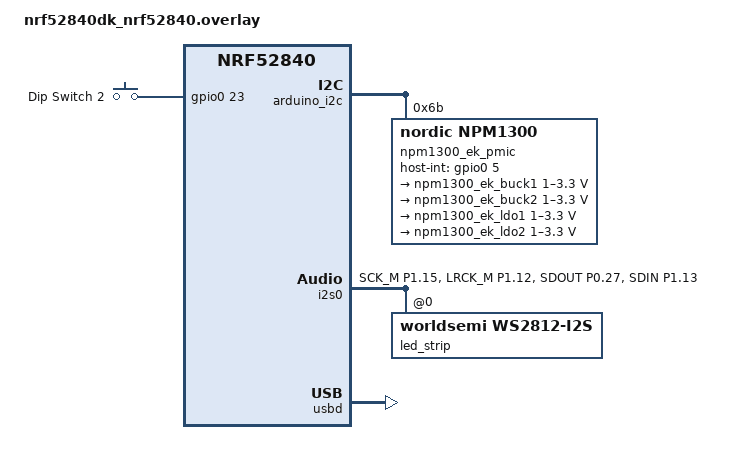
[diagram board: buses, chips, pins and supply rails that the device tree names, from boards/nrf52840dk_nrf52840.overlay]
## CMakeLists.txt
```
#
# Copyright (c) 2025 Joonho Jang
# Copyright (c) 2023 Nordic Semiconductor ASA
#
# SPDX-License-Identifier: LicenseRef-Nordic-5-Clause
#

cmake_minimum_required(VERSION 3.20.0)
find_package(Zephyr REQUIRED HINTS $ENV{ZEPHYR_BASE})

project(leopold_fc750r)

target_include_directories(app PRIVATE include)
target_sources(app PRIVATE src/main.c)
target_sources(app PRIVATE src/fuel_gauge.c)

target_sources(app PRIVATE ${app_sources})
include(${ZEPHYR_BASE}/samples/subsys/usb/common/common.cmake)
FILE(GLOB app_sources ${ZEPHYR_BASE}/samples/subsys/usb/hid-keyboard/src/*.c)
FILE(GLOB app_sources src/*.c)
```

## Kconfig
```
#
# Copyright (c) 2023, 2019 Nordic Semiconductor ASA
#
# SPDX-License-Identifier: Apache-2.0
#

########################################################################
##                               RGB LEDS                             ##
########################################################################

menu "WS2812 Sample Configuration"

config SAMPLE_LED_UPDATE_DELAY
	int "Delay between LED updates in ms"
	default 50
	help
	  Delay between LED updates in ms.

endmenu

########################################################################
##                             USB SETTINGS                           ##
########################################################################

# Source common USB sample options used to initialize new experimental USB
# device stack. The scope of these options is limited to USB samples in project
# tree, you cannot use them in your own application.
source "samples/subsys/usb/common/Kconfig.sample_usbd"

source "Kconfig.zephyr"
```

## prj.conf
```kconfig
#
# Copyright (c) 2025 Joonho Jang
# Copyright (c) 2023, 2019, 2018 Nordic Semiconductor ASA
#
# SPDX-License-Identifier: LicenseRef-Nordic-5-Clause
#

########################################################################
##                           TERMINAL OUTPUT                          ##
########################################################################

CONFIG_LOG=y
CONFIG_LOG_BLOCK_IN_THREAD=y
CONFIG_LOG_CMDS=y

# Uncomment for RTT logging over UART
CONFIG_USE_SEGGER_RTT=y
CONFIG_LOG_BACKEND_RTT=y
CONFIG_RTT_CONSOLE=y
CONFIG_LOG_BACKEND_UART=n
CONFIG_UART_CONSOLE=n

# For the Nordic Semiconductor ASCII art to print properly 
CONFIG_SEGGER_RTT_BUFFER_SIZE_UP=4096

########################################################################
##                           POWER MANAGEMENT                         ##
########################################################################

CONFIG_SHELL=y
CONFIG_LED=y
CONFIG_REGULATOR=y
CONFIG_SENSOR=y
CONFIG_I2C_SHELL=y

CONFIG_NRF_FUEL_GAUGE=y
CONFIG_NRF_FUEL_GAUGE_VARIANT_SECONDARY_CELL=y
CONFIG_REQUIRES_FLOAT_PRINTF=y
CONFIG_FPU=y

########################################################################
##                      KEYBOARD MATRIX SCANNING                      ##
########################################################################

CONFIG_INPUT=y 
CONFIG_GPIO=y

# DEBUGGING TOOL: `kbd_matrix_state_dump` shell command 
# CONFIG_SHELL=y
# CONFIG_INPUT_SHELL=y
# CONFIG_INPUT_SHELL_KBD_MATRIX_STATE=y

########################################################################
##                              BLE SETTING                           ##
########################################################################

# BLE Fundamentals 
CONFIG_BT=y
CONFIG_BT_PERIPHERAL=y
CONFIG_BT_MAX_CONN=1
CONFIG_BT_MAX_PAIRED=3
CONFIG_BT_SMP=y
CONFIG_BT_PRIVACY=y
CONFIG_BT_FILTER_ACCEPT_LIST=y

# 4 Unique Peripheral Identities (However the Identity[0] is always const)
CONFIG_BT_ID_MAX=4

CONFIG_BT_ATT_TX_COUNT=5
CONFIG_BT_GATT_UUID16_POOL_SIZE=40  
CONFIG_BT_GATT_CHRC_POOL_SIZE=20  

# GAP Identity 
CONFIG_BT_DEVICE_NAME="FC750R"
CONFIG_BT_DEVICE_APPEARANCE=961 
CONFIG_BT_DIS=y 
CONFIG_BT_DIS_MANUF_NAME=y 
CONFIG_BT_DIS_MANUF_NAME_STR="Leopold" 

# HID and Battery Service 
CONFIG_BT_HIDS=y 
CONFIG_BT_HIDS_MAX_CLIENT_COUNT=1
CONFIG_BT_HIDS_DEFAULT_PERM_RW_ENCRYPT=y
CONFIG_BT_BAS=y 
CONFIG_BT_BAS_BLS=y
CONFIG_BT_CONN_CTX=y 

# Stack 
CONFIG_MAIN_STACK_SIZE=2048
CONFIG_SYSTEM_WORKQUEUE_STACK_SIZE=2048
CONFIG_INPUT_KBD_MATRIX_THREAD_STACK_SIZE=2048

# Storage 
CONFIG_SETTINGS=y
CONFIG_BT_SETTINGS=y
CONFIG_FLASH=y
CONFIG_FLASH_PAGE_LAYOUT=y
CONFIG_FLASH_MAP=y
CONFIG_ZMS=y

########################################################################
##                             USB SETTINGS                           ##
########################################################################

CONFIG_USB_DEVICE_STACK_NEXT=y
CONFIG_USBD_HID_SUPPORT=y

CONFIG_USBD_LOG_LEVEL_WRN=y
CONFIG_USBD_HID_LOG_LEVEL_WRN=y
CONFIG_UDC_DRIVER_LOG_LEVEL_WRN=y
CONFIG_LOG_BUFFER_SIZE=8192

CONFIG_INPUT_MODE_SYNCHRONOUS=y

CONFIG_SAMPLE_USBD_MANUFACTURER="Leopold"
CONFIG_SAMPLE_USBD_PRODUCT="FC750R (Wired)"
CONFIG_SAMPLE_USBD_REMOTE_WAKEUP=y

########################################################################
##                               RGB LEDS                             ##
########################################################################

CONFIG_LED_STRIP=y
CONFIG_LED_STRIP_LOG_LEVEL_DBG=y
```

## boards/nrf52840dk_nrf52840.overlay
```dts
/**
 * Copyright (c) 2025 Joonho Jang
 * Copyright (c) 2023 Nordic Semiconductor ASA
 *
 * SPDX-License-Identifier: Apache-2.0
 */

#include <dt-bindings/regulator/npm1300.h>
#include <zephyr/dt-bindings/input/input-event-codes.h>
#include <zephyr/dt-bindings/input/keymap.h>

#include <zephyr/dt-bindings/led/led.h>

&i2c0_default {
    group1 {
        bias-pull-up;
        psels = <NRF_PSEL(TWIM_SDA, 0, 4)>, <NRF_PSEL(TWIM_SCL, 0, 26)>;
    };
};

&arduino_i2c {
    npm1300_ek_pmic: pmic@6b {
        compatible = "nordic,npm1300";
        reg = <0x6b>;

        // ship-to-active-time = <96>;
        // long-press-reset = "one_button";

        npm1300_ek_gpio: gpio-controller {
            compatible = "nordic,npm1300-gpio";
            gpio-controller;
            #gpio-cells = <2>;
            ngpios = <5>;

        };

        npm1300_ek_regulators: regulators {
            compatible = "nordic,npm1300-regulator";

            npm1300_ek_buck1: BUCK1 {
                regulator-min-microvolt = <1000000>;
                regulator-max-microvolt = <3300000>;
                regulator-init-microvolt = <1800000>;
                retention-microvolt = <1500000>;

                retention-gpios = <&npm1300_ek_gpio 0 GPIO_ACTIVE_LOW>;
            };

            npm1300_ek_buck2: BUCK2 {
                regulator-min-microvolt = <1000000>;
                regulator-max-microvolt = <3300000>;
                regulator-init-microvolt = <1800000>;
                retention-microvolt = <1500000>;

            };

            npm1300_ek_ldo1: LDO1 {
                regulator-min-microvolt = <1000000>;
                regulator-max-microvolt = <3300000>;

                regulator-initial-mode = <NPM1300_LDSW_MODE_LDSW>;

            };

            npm1300_ek_ldo2: LDO2 {
                regulator-min-microvolt = <1000000>;
                regulator-max-microvolt = <3300000>;

                regulator-initial-mode = <NPM1300_LDSW_MODE_LDSW>;

            };
        };


        npm1300_ek_charger: charger {
            compatible = "nordic,npm1300-charger";
            term-microvolt = <4200000>;
            term-warm-microvolt = <3600000>;
            // term-current-percent = <10>;
            current-microamp = <800000>;
            // trickle-microvolt = <2500000>;
            dischg-limit-microamp = <1000000>;
            vbus-limit-microamp = <500000>;
            thermistor-ohms = <10000>;
            thermistor-beta = <3380>;
            // disable-recharge;
            charging-enable;

        };

        npm1300_ek_leds: leds {
            compatible = "nordic,npm1300-led";
            nordic,led0-mode = "error";
            nordic,led1-mode = "charging";
            nordic,led2-mode = "host";

        };
    };
};

&npm1300_ek_pmic {
    host-int-gpios = <&gpio0 5 0>;
    pmic-int-pin = <1>;

};

/{
    kbd {
        kbd-matrix {
            compatible = "gpio-kbd-matrix";

            row-gpios = <&gpio1 4 (GPIO_PULL_DOWN | GPIO_ACTIVE_HIGH)>,
                        <&gpio1 5 (GPIO_PULL_DOWN | GPIO_ACTIVE_HIGH)>,
                        <&gpio1 2 (GPIO_PULL_DOWN | GPIO_ACTIVE_HIGH)>,
                        <&gpio0 7 (GPIO_PULL_DOWN | GPIO_ACTIVE_HIGH)>,
                        <&gpio0 2 (GPIO_PULL_DOWN | GPIO_ACTIVE_HIGH)>,
                        <&gpio1 14 (GPIO_PULL_DOWN | GPIO_ACTIVE_HIGH)>;

            col-gpios = <&gpio0 3 GPIO_ACTIVE_HIGH>,
                        <&gpio0 29 GPIO_ACTIVE_HIGH>,
                        <&gpio0 28 GPIO_ACTIVE_HIGH>,
                        <&gpio0 31 GPIO_ACTIVE_HIGH>,
                        <&gpio0 30 GPIO_ACTIVE_HIGH>,
                        <&gpio1 8 GPIO_ACTIVE_HIGH>,
                        <&gpio0 11 GPIO_ACTIVE_HIGH>,
                        <&gpio0 6 GPIO_ACTIVE_HIGH>,
                        <&gpio0 8 GPIO_ACTIVE_HIGH>,
                        <&gpio1 9 GPIO_ACTIVE_HIGH>,
                        <&gpio0 12 GPIO_ACTIVE_HIGH>,
                        <&gpio0 14 GPIO_ACTIVE_HIGH>,
                        <&gpio0 16 GPIO_ACTIVE_HIGH>,
                        <&gpio0 13 GPIO_ACTIVE_HIGH>,
                        <&gpio0 15 GPIO_ACTIVE_HIGH>,
                        <&gpio1 3 GPIO_ACTIVE_HIGH>,
                        <&gpio1 7 GPIO_ACTIVE_HIGH>,
                        <&gpio1 6 GPIO_ACTIVE_HIGH>;

            keymap {
                compatible = "input-keymap";
                // MATRIX_KEY(row, col, INPUT_KEY)
                keymap = <

                MATRIX_KEY(0, 0, INPUT_KEY_ESC)
                MATRIX_KEY(0, 2, INPUT_KEY_F1)
                MATRIX_KEY(0, 3, INPUT_KEY_F2)
                MATRIX_KEY(0, 4, INPUT_KEY_F3)
                MATRIX_KEY(0, 5, INPUT_KEY_F4)
                MATRIX_KEY(0, 7, INPUT_KEY_F5)
                MATRIX_KEY(0, 8, INPUT_KEY_F6)
                MATRIX_KEY(0, 9, INPUT_KEY_F7)
                MATRIX_KEY(0, 10, INPUT_KEY_F8)
                MATRIX_KEY(0, 11, INPUT_KEY_F9)
                MATRIX_KEY(0, 12, INPUT_KEY_F10)
                MATRIX_KEY(0, 13, INPUT_KEY_F11)
                MATRIX_KEY(0, 14, INPUT_KEY_F12)
                MATRIX_KEY(0, 15, INPUT_KEY_PRINT)
                MATRIX_KEY(0, 16, INPUT_KEY_SCROLLLOCK)
                MATRIX_KEY(0, 17, INPUT_KEY_PAUSE)

                MATRIX_KEY(1, 0, INPUT_KEY_GRAVE)
                MATRIX_KEY(1, 1, INPUT_KEY_1)
                MATRIX_KEY(1, 2, INPUT_KEY_2)
                MATRIX_KEY(1, 3, INPUT_KEY_3)
                MATRIX_KEY(1, 4, INPUT_KEY_4)
                MATRIX_KEY(1, 5, INPUT_KEY_5)
                MATRIX_KEY(1, 6, INPUT_KEY_6)
                MATRIX_KEY(1, 7, INPUT_KEY_7)
                MATRIX_KEY(1, 8, INPUT_KEY_8)
                MATRIX_KEY(1, 9, INPUT_KEY_9)
                MATRIX_KEY(1, 10, INPUT_KEY_0)
                MATRIX_KEY(1, 11, INPUT_KEY_MINUS)
                MATRIX_KEY(1, 12, INPUT_KEY_EQUAL)
                MATRIX_KEY(1, 13, INPUT_KEY_BACKSPACE)
                MATRIX_KEY(1, 15, INPUT_KEY_INSERT)
                MATRIX_KEY(1, 16, INPUT_KEY_HOME)
                MATRIX_KEY(1, 17, INPUT_KEY_PAGEUP)

                MATRIX_KEY(2, 0, INPUT_KEY_TAB)
                MATRIX_KEY(2, 1, INPUT_KEY_Q)
                MATRIX_KEY(2, 2, INPUT_KEY_W)
                MATRIX_KEY(2, 3, INPUT_KEY_E)
                MATRIX_KEY(2, 4, INPUT_KEY_R)
                MATRIX_KEY(2, 5, INPUT_KEY_T)
                MATRIX_KEY(2, 6, INPUT_KEY_Y)
                MATRIX_KEY(2, 7, INPUT_KEY_U)
                MATRIX_KEY(2, 8, INPUT_KEY_I)
                MATRIX_KEY(2, 9, INPUT_KEY_O)
                MATRIX_KEY(2, 10, INPUT_KEY_P)
                MATRIX_KEY(2, 11, INPUT_KEY_LEFTBRACE)
                MATRIX_KEY(2, 12, INPUT_KEY_RIGHTBRACE)
                MATRIX_KEY(2, 13, INPUT_KEY_BACKSLASH)
                MATRIX_KEY(2, 15, INPUT_KEY_DELETE)
                MATRIX_KEY(2, 16, INPUT_KEY_END)
                MATRIX_KEY(2, 17, INPUT_KEY_PAGEDOWN)

                MATRIX_KEY(3, 0, INPUT_KEY_CAPSLOCK)
                MATRIX_KEY(3, 1, INPUT_KEY_A)
                MATRIX_KEY(3, 2, INPUT_KEY_S)
                MATRIX_KEY(3, 3, INPUT_KEY_D)
                MATRIX_KEY(3, 4, INPUT_KEY_F)
                MATRIX_KEY(3, 5, INPUT_KEY_G)
                MATRIX_KEY(3, 6, INPUT_KEY_H)
                MATRIX_KEY(3, 7, INPUT_KEY_J)
                MATRIX_KEY(3, 8, INPUT_KEY_K)
                MATRIX_KEY(3, 9, INPUT_KEY_L)
                MATRIX_KEY(3, 10, INPUT_KEY_SEMICOLON)
                MATRIX_KEY(3, 11, INPUT_KEY_APOSTROPHE)
                MATRIX_KEY(3, 13, INPUT_KEY_ENTER)

                MATRIX_KEY(4, 0, INPUT_KEY_LEFTSHIFT)
                MATRIX_KEY(4, 1, INPUT_KEY_Z)
                MATRIX_KEY(4, 2, INPUT_KEY_X)
                MATRIX_KEY(4, 3, INPUT_KEY_C)
                MATRIX_KEY(4, 4, INPUT_KEY_V)
                MATRIX_KEY(4, 5, INPUT_KEY_B)
                MATRIX_KEY(4, 6, INPUT_KEY_N)
                MATRIX_KEY(4, 7, INPUT_KEY_M)
                MATRIX_KEY(4, 8, INPUT_KEY_COMMA)
                MATRIX_KEY(4, 9, INPUT_KEY_DOT)
                MATRIX_KEY(4, 10, INPUT_KEY_SLASH)
                MATRIX_KEY(4, 13, INPUT_KEY_RIGHTSHIFT)
                MATRIX_KEY(4, 16, INPUT_KEY_UP)

                MATRIX_KEY(5, 0, INPUT_KEY_LEFTCTRL)
                MATRIX_KEY(5, 1, INPUT_KEY_LEFTMETA)
                MATRIX_KEY(5, 2, INPUT_KEY_LEFTALT)
                MATRIX_KEY(5, 3, INPUT_KEY_SPACE)
                MATRIX_KEY(5, 8, INPUT_KEY_RIGHTALT)
                MATRIX_KEY(5, 9, INPUT_BTN_0)
                MATRIX_KEY(5, 10, INPUT_KEY_MENU)
                MATRIX_KEY(5, 13, INPUT_KEY_RIGHTCTRL)
                MATRIX_KEY(5, 15, INPUT_KEY_LEFT)
                MATRIX_KEY(5, 16, INPUT_KEY_DOWN)
                MATRIX_KEY(5, 17, INPUT_KEY_RIGHT)
                >;

                row-size = <6>;
                col-size = <18>;
            };

            col-drive-inactive;
            settle-time-us = <0>;
            no-ghostkey-check;

        };
    };

    // Delete from DeviceTree Extension Alias Folder
    aliases {
        /delete-property/ led0;
        /delete-property/ led1;
        /delete-property/ led2;
        /delete-property/ led3;

        /delete-property/ sw0;
        /delete-property/ sw1;
        /delete-property/ sw2;
        /delete-property/ sw3;

        /delete-property/ bootloader-led0;
        /delete-property/ mcuboot-button0;
        /delete-property/ mcuboot-led0;
        /delete-property/ pwm-led0;
    };
};

/ {
    hid_dev_0: hid_dev_0 {
        compatible = "zephyr,hid-device";
        label = "HID0";
        protocol-code = "keyboard";
        in-report-size = <64>;
        in-polling-period-us = <1000>;
        out-report-size = <64>;
        out-polling-period-us = <16000>;

        // Alternative Options
        // in-report-size = <256>;
        // in-polling-period-us = <1000>;
        // out-report-size = <128>;
        // out-polling-period-us = <16000>;
    };
};

/ {
    dip_sw {
        compatible = "gpio-keys"; // Placeholder for my own dts/bindings/dip-sw
        dipsw2: dipsw_2 {
            gpios = <&gpio0 23 (GPIO_PULL_DOWN | GPIO_ACTIVE_HIGH)>;
            label = "Dip Switch 2";
            zephyr,code = <INPUT_BTN_2>;
        };
        // Disabling DIP SW3 and DIP SW4
        // dipsw3: dipsw_3 {
            //     gpios = <&gpio0 21 (GPIO_PULL_DOWN | GPIO_ACTIVE_HIGH)>;
            //     label = "Dip Switch 3";
            //     zephyr,code = <INPUT_BTN_3>;
        // };
        // dipsw4: dipsw_4 {
            //     gpios = <&gpio0 19 (GPIO_PULL_DOWN | GPIO_ACTIVE_HIGH)>;
            //     label = "Dip Switch 4";
            //     zephyr,code = <INPUT_BTN_4>;
        // };
    };
};

&pinctrl {
    i2s0_default_alt: i2s0_default_alt {
        group1 {
            psels = <NRF_PSEL(I2S_SCK_M, 1, 15)>,
                    <NRF_PSEL(I2S_LRCK_M, 1, 12)>,
                    <NRF_PSEL(I2S_SDOUT, 0, 27)>,
                    <NRF_PSEL(I2S_SDIN, 1, 13)>;
        };
    };
};

&i2c0_sleep {
    group1 {
        psels = <NRF_PSEL(TWIM_SDA, 0, 26)>, <NRF_PSEL(TWIM_SCL, 0, 17)>;
    };
};

i2s_led: &i2s0 {
    status = "okay";
    pinctrl-0 = <&i2s0_default_alt>;
    pinctrl-names = "default";

    led_strip: ws2812@0 {
        compatible = "worldsemi,ws2812-i2s";

        reg = <0>;
        chain-length = <87>; /* arbitrary; change at will */
        color-mapping = <LED_COLOR_ID_GREEN
        LED_COLOR_ID_RED
        LED_COLOR_ID_BLUE>;
        // out-active-low;
        reset-delay = <120>;
    };
};

/ {
    aliases {
        led-strip = &led_strip;
    };
};

// Delete from DeviceTree Extension Nodes Folder
/delete-node/ &led0;
/delete-node/ &led1;
/delete-node/ &led2;
/delete-node/ &led3;
/delete-node/ &{/leds/};

/delete-node/ &button0;
/delete-node/ &button1;
/delete-node/ &button2;
/delete-node/ &button3;
/delete-node/ &{/buttons/};

&clock {
    status = "okay";
};

&usbd {
    status = "okay";
};

&spi1 {
    status = "disabled";
};

&qspi {
    status = "disabled";
};

&spi3 {
    status = "disabled";
};

&uart0 {
    status = "disabled";
};

&pwm0 {
    status = "disabled";
};

&arduino_adc {
    io-channel-map = <0 &adc 1>,
                     <1 &adc 2>,
                     <2 &adc 4>,
                     <3 &adc 5>,
                     <4 &adc 6>,
                     <5 &adc 7>;
};
```

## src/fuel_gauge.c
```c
/**
 * Copyright (c) 2023 Nordic Semiconductor ASA
 *
 * SPDX-License-Identifier: LicenseRef-Nordic-5-Clause
 */

#include <nrf_fuel_gauge.h>
#include <stdlib.h>
#include <zephyr/device.h>
#include <zephyr/drivers/sensor.h>
#include <zephyr/drivers/sensor/npm1300_charger.h>
#include <zephyr/kernel.h>
#include <zephyr/sys/printk.h>
#include <zephyr/sys/util.h>

/* nPM1300 CHARGER.BCHGCHARGESTATUS register bitmasks */
#define NPM1300_CHG_STATUS_COMPLETE_MASK BIT(1)
#define NPM1300_CHG_STATUS_TRICKLE_MASK BIT(2)
#define NPM1300_CHG_STATUS_CC_MASK BIT(3)
#define NPM1300_CHG_STATUS_CV_MASK BIT(4)

static int64_t ref_time;

static const struct battery_model battery_model = {
#include "LIP1400_25C.inc"
};

static int read_sensors(const struct device *charger, float *voltage,
                        float *current, float *temp, int32_t *chg_status) {
  struct sensor_value value;
  int ret;

  ret = sensor_sample_fetch(charger);
  if (ret < 0) {
    return ret;
  }

  sensor_channel_get(charger, SENSOR_CHAN_GAUGE_VOLTAGE, &value);
  *voltage = (float)value.val1 + ((float)value.val2 / 1000000);

  sensor_channel_get(charger, SENSOR_CHAN_GAUGE_TEMP, &value);
  *temp = (float)value.val1 + ((float)value.val2 / 1000000);

  sensor_channel_get(charger, SENSOR_CHAN_GAUGE_AVG_CURRENT, &value);
  *current = (float)value.val1 + ((float)value.val2 / 1000000);

  sensor_channel_get(charger, SENSOR_CHAN_NPM1300_CHARGER_STATUS, &value);
  *chg_status = value.val1;

  return 0;
}

static int charge_status_inform(int32_t chg_status) {
  union nrf_fuel_gauge_ext_state_info_data state_info;

  if (chg_status & NPM1300_CHG_STATUS_COMPLETE_MASK) {
    printk("Charge complete\n");
    state_info.charge_state = NRF_FUEL_GAUGE_CHARGE_STATE_COMPLETE;
  } else if (chg_status & NPM1300_CHG_STATUS_TRICKLE_MASK) {
    printk("Trickle charging\n");
    state_info.charge_state = NRF_FUEL_GAUGE_CHARGE_STATE_TRICKLE;
  } else if (chg_status & NPM1300_CHG_STATUS_CC_MASK) {
    printk("Constant current charging\n");
    state_info.charge_state = NRF_FUEL_GAUGE_CHARGE_STATE_CC;
  } else if (chg_status & NPM1300_CHG_STATUS_CV_MASK) {
    printk("Constant voltage charging\n");
    state_info.charge_state = NRF_FUEL_GAUGE_CHARGE_STATE_CV;
  } else {
    printk("Charger idle\n");
    state_info.charge_state = NRF_FUEL_GAUGE_CHARGE_STATE_IDLE;
  }

  return nrf_fuel_gauge_ext_state_update(
      NRF_FUEL_GAUGE_EXT_STATE_INFO_CHARGE_STATE_CHANGE, &state_info);
}

int fuel_gauge_init(const struct device *charger) {
  struct sensor_value value;
  struct nrf_fuel_gauge_init_parameters parameters = {
      .model = &battery_model,
      .opt_params = NULL,
      .state = NULL,
  };
  float max_charge_current;
  float term_charge_current;
  int32_t chg_status;
  int ret;

  printk("nRF Fuel Gauge version: %s\n", nrf_fuel_gauge_version);

  ret = read_sensors(charger, &parameters.v0, &parameters.i0, &parameters.t0,
                     &chg_status);
  if (ret < 0) {
    return ret;
  }

  /* Store charge nominal and termination current, needed for ttf calculation */
  sensor_channel_get(charger, SENSOR_CHAN_GAUGE_DESIRED_CHARGING_CURRENT,
                     &value);
  max_charge_current = (float)value.val1 + ((float)value.val2 / 1000000);
  term_charge_current = max_charge_current / 10.f;

  ret = nrf_fuel_gauge_init(&parameters, NULL);
  if (ret < 0) {
    printk("Error: Could not initialise fuel gauge\n");
    return ret;
  }

  ret = nrf_fuel_gauge_ext_state_update(
      NRF_FUEL_GAUGE_EXT_STATE_INFO_CHARGE_CURRENT_LIMIT,
      &(union nrf_fuel_gauge_ext_state_info_data){.charge_current_limit =
                                                      max_charge_current});
  if (ret < 0) {
    printk("Error: Could not set fuel gauge state\n");
    return ret;
  }

  ret = nrf_fuel_gauge_ext_state_update(
      NRF_FUEL_GAUGE_EXT_STATE_INFO_TERM_CURRENT,
      &(union nrf_fuel_gauge_ext_state_info_data){.charge_term_current =
                                                      term_charge_current});
  if (ret < 0) {
    printk("Error: Could not set fuel gauge state\n");
    return ret;
  }

  ret = charge_status_inform(chg_status);
  if (ret < 0) {
    printk("Error: Could not set fuel gauge state\n");
    return ret;
  }

  ref_time = k_uptime_get();

  return 0;
}

int fuel_gauge_update(const struct device *charger, bool vbus_connected) {
  static int32_t chg_status_prev;

  float voltage;
  float current;
  float temp;
  float soc;
  float tte;
  float ttf;
  float delta;
  int32_t chg_status;
  int ret;

  ret = read_sensors(charger, &voltage, &current, &temp, &chg_status);
  if (ret < 0) {
    printk("Error: Could not read from charger device\n");
    return ret;
  }

  ret = nrf_fuel_gauge_ext_state_update(
      vbus_connected ? NRF_FUEL_GAUGE_EXT_STATE_INFO_VBUS_CONNECTED
                     : NRF_FUEL_GAUGE_EXT_STATE_INFO_VBUS_DISCONNECTED,
      NULL);
  if (ret < 0) {
    printk("Error: Could not inform of state\n");
    return ret;
  }

  if (chg_status != chg_status_prev) {
    chg_status_prev = chg_status;

    ret = charge_status_inform(chg_status);
    if (ret < 0) {
      printk("Error: Could not inform of charge status\n");
      return ret;
    }
  }

  delta = (float)k_uptime_delta(&ref_time) / 1000.f;

  soc = nrf_fuel_gauge_process(voltage, current, temp, delta, NULL);
  tte = nrf_fuel_gauge_tte_get();
  ttf = nrf_fuel_gauge_ttf_get();

  printk("V: %.3f, I: %.3f, T: %.2f, ", (double)voltage, (double)current,
         (double)temp);
  printk("SoC: %.2f, TTE: %.0f, TTF: %.0f\n", (double)soc, (double)tte,
         (double)ttf);

  // Return the battery percentage
  return (int)soc;
}
```

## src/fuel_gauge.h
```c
/**
 * Copyright (c) 2023 Nordic Semiconductor ASA
 *
 * SPDX-License-Identifier: LicenseRef-Nordic-5-Clause
 */

#ifndef __FUEL_GAUGE_H__
#define __FUEL_GAUGE_H__

int fuel_gauge_init(const struct device *charger);

int fuel_gauge_update(const struct device *charger, bool vbus_connected);

#endif /* __FUEL_GAUGE_H__ */
```
